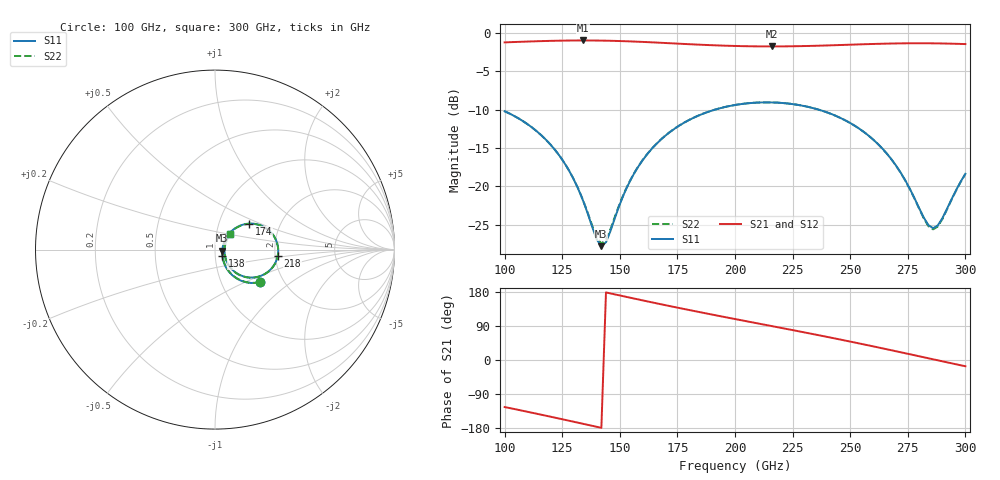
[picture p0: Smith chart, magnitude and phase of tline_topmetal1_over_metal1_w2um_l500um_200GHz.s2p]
#  GHZ S DB R 50
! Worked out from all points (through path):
!   101 points, 100 GHz to 300 GHz, reference 50 ohm
!   highest |S21| = -0.99 dB at 134 GHz (marker M1); lowest = -1.8 dB at 216 GHz (marker M2)
!   group delay of S21, straight-line fit = 3.46 ps
!   lowest |S11| = -27.8 dB at 142 GHz (marker M3), VSWR 1.08, Z = 54.2 - j0.589 ohm
!   |S11| at or under -10 dB: start of sweep to 191.5 GHz; 236.2 GHz to end of sweep
!   |S22| runs from -27.5 to -9.1 dB; largest |S21 - S12| = 9.5e-14
!   S11 on the Smith chart (normalised r, x): 100 GHz: 1.52, -0.61; 138 GHz: 1.08, -0.08; 174 GHz: 1.39, +0.43; 218 GHz: 2.06, -0.17; 300 GHz: 1.17, +0.20
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100  -10.22 -36.2  -1.24 -124.1  -1.24 -124.1  -10.22 -36.0
120  -14.60 -54.7  -1.04 -149.7  -1.04 -149.7  -14.60 -54.2
128  -17.98 -58.3  -1.00 -160.3  -1.00 -160.3  -17.96 -57.6
134  -21.85 -54.4  -0.99 -168.3  -0.99 -168.3  -21.78 -53.3
138  -25.29 -41.2  -0.99 -173.7  -0.99 -173.7  -25.12 -39.9
142  -27.82 -7.7  -1.01 -179.0  -1.01 -179.0  -27.48 -7.3
144  -27.31 12.9  -1.02 178.3  -1.02 178.3  -26.98 12.4
152  -20.88 46.6  -1.08 167.7  -1.08 167.7  -20.79 45.7
156  -18.46 48.5  -1.13 162.4  -1.13 162.4  -18.40 47.8
168  -13.87 42.6  -1.29 147.0  -1.29 147.0  -13.85 42.1
174  -12.45 37.4  -1.38 139.4  -1.38 139.4  -12.43 37.0
186  -10.56 26.0  -1.55 124.7  -1.55 124.7  -10.55 25.6
200  -9.41 12.1  -1.70 108.1  -1.70 108.1  -9.40 11.8
216  -9.07 -3.9  -1.76 89.4  -1.76 89.4  -9.07 -4.2
218  -9.09 -5.9  -1.76 87.1  -1.76 87.1  -9.09 -6.2
234  -9.82 -21.8  -1.69 68.2  -1.69 68.2  -9.82 -22.1
254  -12.51 -40.6  -1.50 43.6  -1.50 43.6  -12.51 -40.9
268  -16.53 -49.1  -1.39 25.6  -1.39 25.6  -16.54 -49.5
282  -24.13 -28.1  -1.35 7.1  -1.35 7.1  -24.24 -28.6
286  -25.48 -2.1  -1.36 1.8  -1.36 1.8  -25.63 -2.3
290  -24.18 23.8  -1.38 -3.5  -1.38 -3.5  -24.29 24.2
300  -18.38 45.0  -1.46 -16.6  -1.46 -16.6  -18.41 45.4
